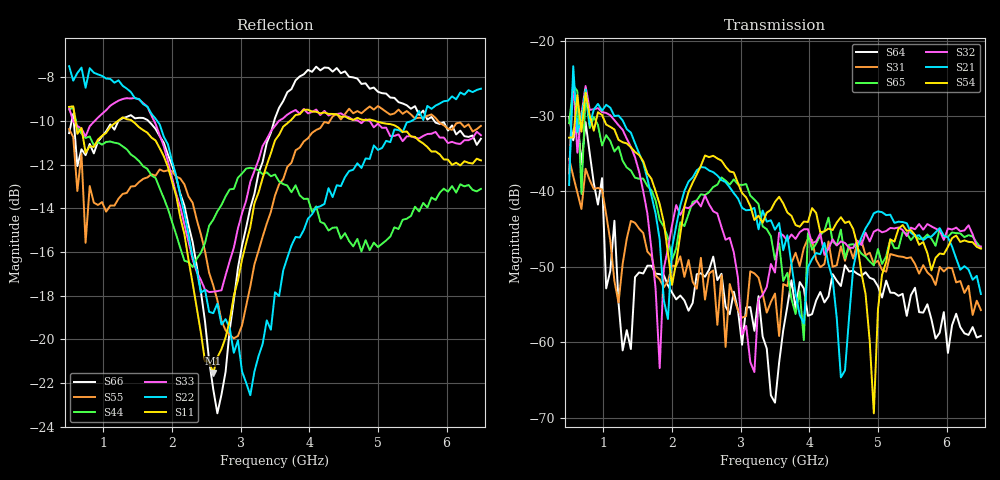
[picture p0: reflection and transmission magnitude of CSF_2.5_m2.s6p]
!Keysight Technologies,M9804A,MY58100912,A.14.10.03
!Date: Thursday, April 27, 2023 10:28:33
!Correction: S11(C  6-Port  )
!S12(C  6-Port  )
!S13(C  6-Port  )
!S14(C  6-Port  )
!S15(C  6-Port  )
!S16(C  6-Port  )
!S21(C  6-Port  )
!S22(C  6-Port  )
!S23(C  6-Port  )
!S24(C  6-Port  )
!S25(C  6-Port  )
!S26(C  6-Port  )
!S31(C  6-Port  )
!S32(C  6-Port  )
!S33(C  6-Port  )
!S34(C  6-Port  )
!S35(C  6-Port  )
!S36(C  6-Port  )
!S41(C  6-Port  )
!S42(C  6-Port  )
!S43(C  6-Port  )
!S44(C  6-Port  )
!S45(C  6-Port  )
!S46(C  6-Port  )
!S51(C  6-Port  )
!S52(C  6-Port  )
!S53(C  6-Port  )
!S54(C  6-Port  )
!S55(C  6-Port  )
!S56(C  6-Port  )
!S61(C  6-Port  )
!S62(C  6-Port  )
!S63(C  6-Port  )
!S64(C  6-Port  )
!S65(C  6-Port  )
!S66(C  6-Port  )
!S6P File: Measurement: :
# Hz S  RI  R 50
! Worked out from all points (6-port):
!   101 points, 500 MHz to 6.5 GHz, reference 50 ohm
!   strongest paths, dB at 500 MHz, 2 GHz, 3.5 GHz, 5 GHz, 6.5 GHz:
!     S54: -32.9, -52.4, -41.4, -55.7, -47.6
!     S21: -39.1, -47.5, -45.1, -42.6, -53.6
!     S32: -37.6, -44.5, -50.8, -45.0, -47.3
!     S65: -30.9, -49.1, -49.1, -47.6, -47.5
!     S31: -35.7, -49.8, -53.5, -49.2, -55.7
!     S64: -30.1, -53.4, -68.0, -52.6, -59.1
!   lowest |S11| = -21.5 dB at 2.6 GHz (marker M1), VSWR 1.18, Z = 42.5 + j2.06 ohm
!   |S11| at or under -10 dB: 592 MHz to 1.209 GHz (617 MHz wide, 68.5 % of centre); 1.42 GHz to 3.718 GHz (2.298 GHz wide, 89.5 % of centre); 4.962 GHz to end of sweep
